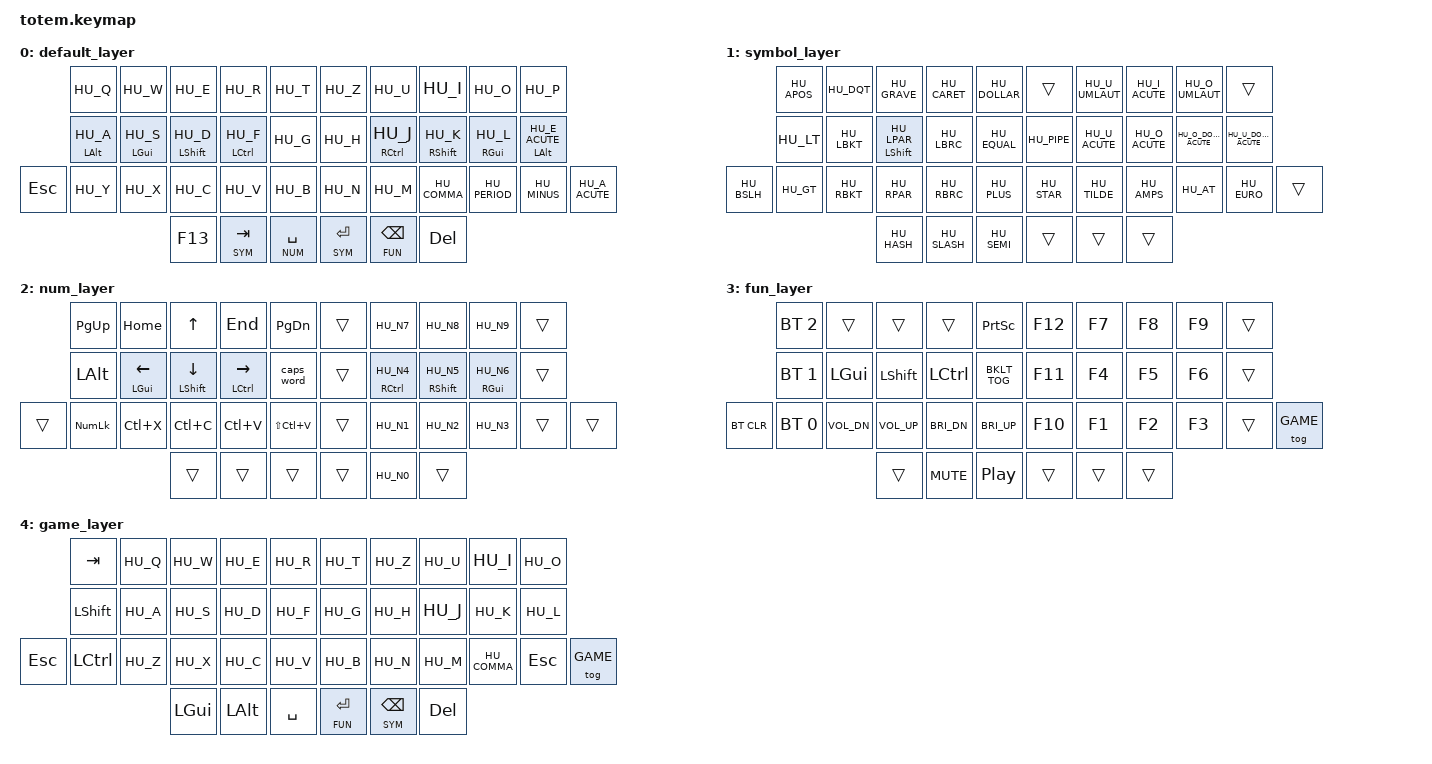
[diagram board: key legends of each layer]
// Copyright (c) 2022 The ZMK Contributors
// SPDX-License-Identifier: MIT

#include "../zmk-nodefree-config/helper.h"
#include "../zmk-nodefree-config/keypos_def/keypos_38keys.h"
#include <behaviors.dtsi>
#include <dt-bindings/zmk/keys.h>
#include <dt-bindings/zmk/bt.h>
#include "keys_hu.h"

#define XXX &none
#define TODO ___
#define ___ &trans

#define BASE 0
#define SYM 1
#define NUM 2
#define FUN 3
#define GAME 4

#include "combos.dtsi"

// hyper
#define HYP LS(LC(LA(LGUI)))

/* ------------------------ general config ----------------------- */

#define QUICK_TAP_MS 175

// smart-layer config
&caps_word {
    // /delete-property/ ignore-modifiers; // mods deactivate, requires PR #1451
    /delete-property/ ignore-numbers;
    continue-list = <BACKSPACE ENTER DELETE UNDERSCORE MINUS>;
};

// key-repeat config
&key_repeat {
    usage-pages = <HID_USAGE_KEY HID_USAGE_CONSUMER>; // repeat all keys
};

// sticky key aka 'one-shot mods'
&sk {
    release-after-ms = <2000>;
    quick-release;
};

// default layer-tap config
&lt {
    flavor = "balanced";
    tapping-term-ms = <200>;
    quick-tap-ms = <QUICK_TAP_MS>;
};

#define KEYS_L LT0 LT1 LT2 LT3 LT4 LM0 LM1 LM2 LM3 LM4 LB0 LB1 LB2 LB3 LB4  // left hand
#define KEYS_R RT0 RT1 RT2 RT3 RT4 RM0 RM1 RM2 RM3 RM4 RB0 RB1 RB2 RB3 RB4  // right hand
#define THUMBS LH2 LH1 LH0 RH0 RH1 RH2                                      // thumbs

#define MAKE_HRM(NAME, HOLD, TAP, TRIGGER_POS) \
    ZMK_BEHAVIOR(NAME, hold_tap, \
        flavor = "balanced"; \
        tapping-term-ms = <280>; \
        quick-tap-ms = <QUICK_TAP_MS>; \
        require-prior-idle-ms = <150>; \
        bindings = <HOLD>, <TAP>; \
        hold-trigger-key-positions = <TRIGGER_POS>; \
        hold-trigger-on-release; \
    )
MAKE_HRM(hml, &kp, &kp, KEYS_R THUMBS)  // left-hand HRMs
MAKE_HRM(hmr, &kp, &kp, KEYS_L THUMBS)  // right-hand HRMs

// special HRMs for the right meh key, as it involves a modmorph
// MAKE_HRM(hmr_meh, &kp, &comma_morph, KEYS_L THUMBS)
// MAKE_HRM(hmr_lpar, &kp, &lpar, KEYS_L THUMBS)    // "    "   "   "
// MAKE_HRM(hmr_rpar, &kp, &rpar, KEYS_L THUMBS)    // "    "   "   "

// mod_morph keys
// tap: qmark | shift + tap: excl
ZMK_BEHAVIOR(qexcl, mod_morph,
    bindings = <&kp QMARK>, <&kp EXCL>;
    mods = <(MOD_LSFT|MOD_RSFT)>;
)

// tap: í | shift + tap: Í
// just as it works in traditional keyboards
ZMK_BEHAVIOR(hu_i_acute_morph, mod_morph,
    bindings = <&kp HU_I_ACUTE>, <&kp HU_I_ACUTE_UPPER>;
    mods = <(MOD_LSFT|MOD_RSFT)>;
)

/ {
    keymap {
        compatible = "zmk,keymap";
        default_layer {
            bindings = <
                &kp HU_Q         &kp HU_W         &kp HU_E            &kp HU_R          &kp HU_T           &kp HU_Z     &kp HU_U          &kp HU_I            &kp HU_O         &kp HU_P
                &hml LALT HU_A  &hml LGUI HU_S    &hml LSHIFT HU_D    &hml LCTRL HU_F   &kp HU_G           &kp HU_H     &hmr RCTRL HU_J   &hmr RSHIFT HU_K    &hmr RGUI HU_L   &hmr LALT HU_E_ACUTE
      &kp ESC   &kp HU_Y         &kp HU_X         &kp HU_C            &kp HU_V          &kp HU_B           &kp HU_N     &kp HU_M          &kp HU_COMMA   &kp HU_PERIOD     &kp HU_MINUS        &kp HU_A_ACUTE
                                                  &kp F13             &lt SYM TAB       &lt NUM SPACE      &lt SYM RET  &lt FUN BSPC      &kp DEL
            >;
        };
        symbol_layer {
            bindings = <
            &kp HU_APOS   &kp HU_DQT      &kp HU_GRAVE       &kp HU_CARET      &kp HU_DOLLAR          ___ &kp HU_U_UMLAUT     &kp HU_I_ACUTE  &kp HU_O_UMLAUT                  ___
        &kp HU_LT     &kp HU_LBKT     &hml LSHIFT HU_LPAR    &kp HU_LBRC       &kp HU_EQUAL           &kp HU_PIPE    &kp HU_U_ACUTE    &kp HU_O_ACUTE     &kp HU_O_DOUBLE_ACUTE   &kp HU_U_DOUBLE_ACUTE
    &kp HU_BSLH &kp HU_GT     &kp HU_RBKT     &kp HU_RPAR            &kp HU_RBRC       &kp HU_PLUS            &kp HU_STAR      &kp HU_TILDE &kp HU_AMPS &kp HU_AT           &kp HU_EURO    ___
                                          &kp HU_HASH        &kp HU_SLASH      &kp HU_SEMI            ___            ___                ___
            >;
        };
        num_layer {
            bindings = <
            &kp PG_UP       &kp HOME         &kp UP             &kp END             &kp PG_DN          ___       &kp HU_N7         &kp HU_N8          &kp HU_N9         ___
            &kp LALT        &hml LGUI LEFT   &hml LSHIFT DOWN   &hml LCTRL RIGHT    &caps_word           ___       &hmr RCTRL HU_N4  &hmr RSHIFT HU_N5  &hmr RGUI  HU_N6  ___
  ___       &kp KP_NUMLOCK  &kp LC(X)        &kp LC(C)          &kp LC(V)           &kp LS(LC(V))        ___       &kp HU_N1         &kp HU_N2          &kp  HU_N3        ___            ___
                                             ___                ___                 ___                  ___       &kp HU_N0         ___
            >;
        };
        fun_layer {
            bindings = <
            &bt BT_SEL 2       ___                ___              ___            &kp PSCRN            &kp F12      &kp F7       &kp F8      &kp F9      ___
            &bt BT_SEL 1       &kp LGUI           &kp LSHIFT       &kp LCTRL      &kp C_BKLT_TOG       &kp F11      &kp F4       &kp F5      &kp F6      ___
&bt BT_CLR  &bt BT_SEL 0       &kp C_VOL_DN       &kp C_VOL_UP     &kp C_BRI_DN   &kp C_BRI_UP         &kp F10      &kp F1       &kp F2      &kp F3      ___    &tog GAME
                                                  ___              &kp C_MUTE     &kp C_PLAY_PAUSE     ___           ___               ___
            >;
        };
        game_layer {
            bindings = <
                &kp TAB &kp HU_Q         &kp HU_W         &kp HU_E     &kp HU_R            &kp HU_T           &kp HU_Z     &kp HU_U          &kp HU_I            &kp HU_O
                &kp LSHIFT &kp HU_A         &kp HU_S         &kp HU_D     &kp HU_F            &kp HU_G           &kp HU_H     &kp HU_J   &kp HU_K    &kp HU_L
&kp ESC &kp LCTRL  &kp HU_Z         &kp HU_X         &kp HU_C            &kp HU_V            &kp HU_B           &kp HU_N     &kp HU_M          &kp HU_COMMA   &kp ESC     &tog GAME
                                              &kp LGUI        &kp LALT         &kp SPACE          &lt FUN RET      &lt SYM BSPC       &kp DEL
            >;
        };
    };
};

/* --------------------------------- combos --------------------------------- */
/*
   ╭────────────────────┬────────────────────╮     ╭─────────────────────┬─────────────────────╮
   │  0   1   2   3   4 │  5   6   7   8   9 │     │ LT4 LT3 LT2 LT1 LT0 │ RT0 RT1 RT2 RT3 RT4 │
   │ 10  11  12  13  14 │ 15  16  17  18  19 │     │ LM4 LM3 LM2 LM1 LM0 │ RM0 RM1 RM2 RM3 RM4 │
  20 21  22  23  24  25 │ 26  27  28  29  30 31  LB5 LB4 LB3 LB2 LB1 LB0 │ RB0 RB1 RB2 RB3 RB4 RB5
   ╰───────╮ 32  33  34 │ 35  36  37 ╭───────╯     ╰───────╮ LH2 LH1 LH0 │ RH0 RH1 RH2 ╭───────╯
           ╰────────────┴────────────╯                     ╰─────────────┴─────────────╯             */
// use global-quick-tap-ms for combos (requires PR 1387)
